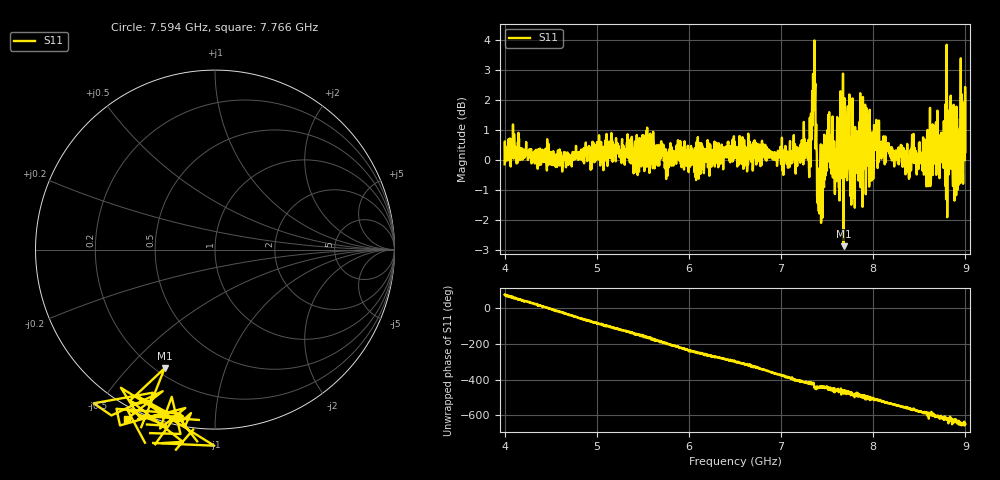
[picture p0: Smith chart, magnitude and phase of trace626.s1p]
! Created with skrf 1.8.0 (http://scikit-rf.org).
# Hz S RI R 50.0
!freq ReS11 ImS11
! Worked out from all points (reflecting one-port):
!   1601 points, 4 GHz to 9 GHz, reference 50 ohm
!   lowest |S11| = -2.9 dB at 7.678 GHz (marker M1), VSWR 6.08, Z = 11.7 - j31.8 ohm
!   phase of S11 starts at 76 deg and turns -726 deg over the sweep
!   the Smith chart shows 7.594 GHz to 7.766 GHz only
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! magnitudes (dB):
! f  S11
! 4 GHz  -0.2
! 4.094 GHz  0.4
! 4.625 GHz  -0.4
! 5.25 GHz  0.2
! 5.875 GHz  0.0
! 6.5 GHz  0.4
! 7.125 GHz  0.1
! 7.294 GHz  0.6
! 7.319 GHz  -0.2
! 7.347 GHz  2.9
! 7.362 GHz  4.0
! 7.412 GHz  -0.7
! 7.512 GHz  1.5
! 7.578 GHz  0.0
! 7.678 GHz  -2.9
! 7.75 GHz  -0.8
! 7.775 GHz  2.0
! 7.844 GHz  0.3
! 7.928 GHz  0.8
! 7.981 GHz  -0.7
! 8.038 GHz  0.7
! 8.375 GHz  -0.4
! 8.441 GHz  -0.1
! 8.738 GHz  0.9
! 8.819 GHz  -0.2
! 8.875 GHz  0.9
! 8.972 GHz  0.7
! 9 GHz  0.3
